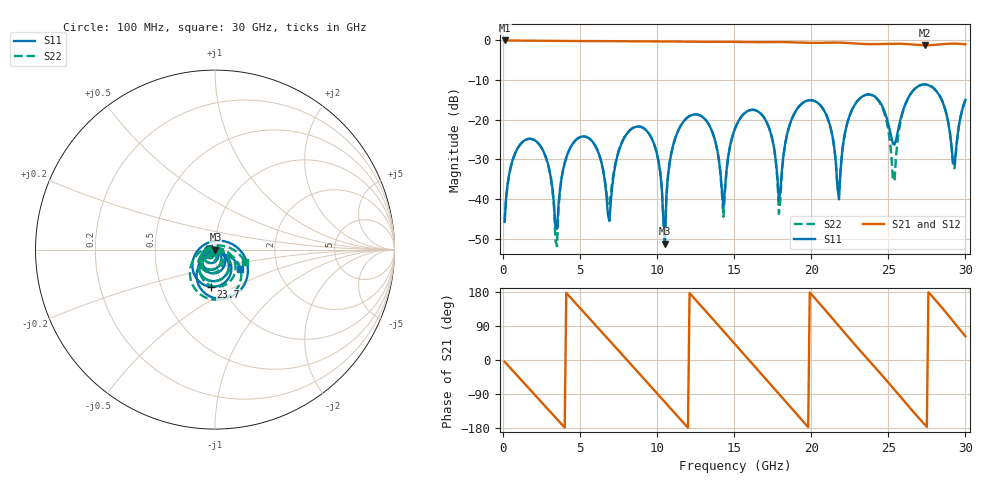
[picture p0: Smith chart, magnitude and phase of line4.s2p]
! Created Sat Feb 15 11:44:24 2025
! List of port names and net name(s): example Port n = <port_name> <net_name1> <net_name2> ...
! Port 1 = P1 P1
! Port 2 = P2 P1
# hz S ma R 50
! 2 Port Network Data from data block
! freq  magS11  angS11  magS21  angS21  magS12  angS12  magS22  angS22
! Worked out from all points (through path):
!   300 points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, 100 MHz to 30 GHz, reference 50 ohm
!   highest |S21| = -0.01 dB at 100 MHz (marker M1); lowest = -1.2 dB at 27.4 GHz (marker M2)
!   group delay of S21, straight-line fit = 127 ps
!   lowest |S11| = -51.2 dB at 10.5 GHz (marker M3), VSWR 1.01, Z = 50.3 - j0.05 ohm
!   |S11| at or under -10 dB: start of sweep to end of sweep
!   |S22| runs from -51.9 to -11.1 dB; largest |S21 - S12| = 0
!   S11 on the Smith chart (normalised r, x): 100 MHz: 1.00, -0.01; 23.7 GHz: 0.88, -0.38; 30 GHz: 1.29, -0.29
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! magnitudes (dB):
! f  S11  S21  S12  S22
! 100 MHz  -45.8  0.0  0.0  -45.8
! 2 GHz  -25.1  -0.1  -0.1  -25.1
! 3.5 GHz  -47.5  -0.1  -0.1  -51.9
! 5.1 GHz  -24.3  -0.2  -0.2  -24.3
! 6.9 GHz  -45.6  -0.2  -0.2  -41.2
! 8.1 GHz  -23.2  -0.2  -0.2  -23.1
! 10.1 GHz  -30.8  -0.2  -0.2  -30.7
! 10.5 GHz  -51.2  -0.2  -0.2  -51.1
! 11.6 GHz  -21.1  -0.3  -0.3  -21.1
! 13.5 GHz  -22.4  -0.3  -0.3  -22.4
! 14.3 GHz  -42.2  -0.3  -0.3  -44.5
! 15.1 GHz  -21.8  -0.4  -0.4  -21.7
! 17.1 GHz  -20.6  -0.4  -0.4  -20.6
! 17.9 GHz  -40.2  -0.4  -0.4  -43.7
! 18.6 GHz  -21.3  -0.5  -0.5  -21.3
! 20.1 GHz  -15.1  -0.6  -0.6  -15.2
! 21.8 GHz  -40.1  -0.5  -0.5  -38.9
! 23.7 GHz  -13.6  -0.9  -0.9  -13.6
! 25.1 GHz  -22.8  -0.8  -0.8  -25.3
! 27.4 GHz  -11.1  -1.2  -1.2  -11.1
! 29.3 GHz  -31.3  -0.8  -0.8  -32.3
! 30 GHz  -15.0  -1.0  -1.0  -15.0
